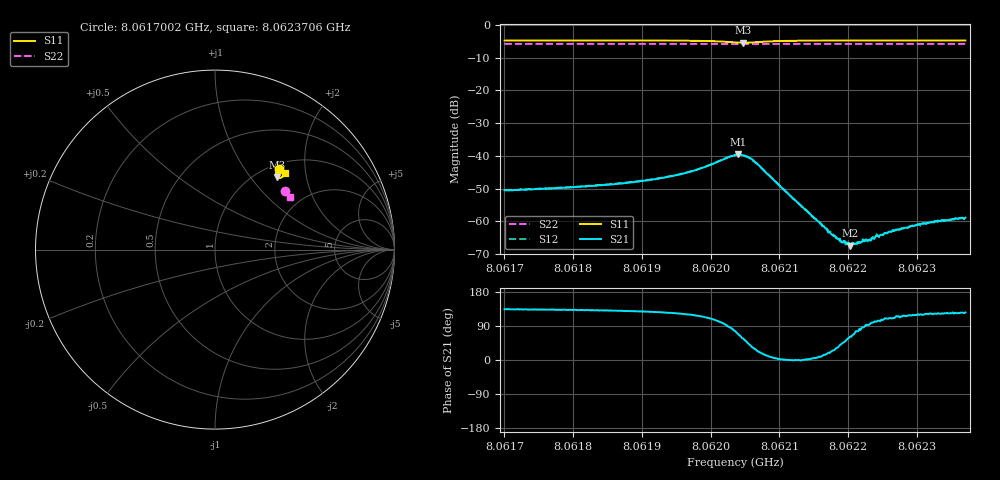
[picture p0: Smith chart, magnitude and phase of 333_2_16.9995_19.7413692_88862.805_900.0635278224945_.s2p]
#  HZ  S  RI  R  50.00
! Rohde & Schwarz Vector Network Analyzer
! Rohde-Schwarz,ZNB20-2Port,1311601062101988,3.16
! Created: UTC 3/20/2024, 11:07:00 PM
! freq[Hz]  re:S11  im:S11  re:S21  im:S21  re:S12  im:S12  re:S22  im:S22
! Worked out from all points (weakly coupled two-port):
!   401 points, 8.0617002 GHz to 8.0623706 GHz, reference 50 ohm
!   highest |S21| = -39.50 dB at 8.0620405 GHz (marker M1); lowest = -67.4 dB at 8.062203 GHz (marker M2)
!   lowest |S11| = -5.5 dB at 8.0620472 GHz (marker M3), VSWR 3.27, Z = 60.9 + j68.5 ohm
!   |S11| at or under -10 dB: nowhere
!   |S22| runs from -5.9 to -5.8 dB; largest |S21 - S12| = 0.00081
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8.06170023e9  0.3585 0.4508  -0.00208 0.00215  -0.00194 0.00231  0.3917 0.3286
8.06181252e9  0.3663 0.4442  -0.00228 0.00252  -0.00217 0.0027  0.3961 0.3232
8.06187286e9  0.3707 0.4399  -0.00242 0.00295  -0.00231 0.00314  0.3984 0.3202
8.06192482e9  0.3749 0.4346  -0.00267 0.00362  -0.00249 0.0038  0.4002 0.3174
8.06197175e9  0.3791 0.4262  -0.00283 0.00506  -0.00254 0.00525  0.4019 0.3148
8.06203544e9  0.3614 0.3989  0.0024 0.00991  0.00311 0.0098  0.403 0.3108
8.06204047e9  0.3553 0.3995  0.004 0.00981  0.00449 0.00943  0.4028 0.3107
8.06204717e9  0.3472 0.4031  0.00558 0.00856  0.00626 0.00827  0.4029 0.3106
8.06205723e9  0.3402 0.4139  0.00711 0.00577  0.00748 0.00536  0.403 0.3107
8.06206728e9  0.3404 0.4251  0.00697 0.00323  0.00713 0.00275  0.4035 0.3107
8.06214773e9  0.3683 0.4384  0.00118 8.36e-05  0.00123 -1.15e-05  0.4079 0.3073
8.06217455e9  0.3724 0.4367  0.000612 0.000239  0.000659 0.000236  0.4088 0.3056
8.06218628e9  0.3738 0.436  0.000428 0.000303  0.00046 0.000273  0.4093 0.3052
8.06219466e9  0.3748 0.4354  0.000341 0.000375  0.000353 0.000383  0.4095 0.3048
8.06220304e9  0.3758 0.4349  0.000203 0.000377  0.000229 0.000351  0.4099 0.3045
8.06222148e9  0.3776 0.4338  3.83e-05 0.000527  6.64e-05 0.000526  0.4105 0.3034
8.06222986e9  0.3784 0.4333  -2.52e-05 0.000523  2.93e-05 0.000518  0.4108 0.303
8.06223992e9  0.3793 0.4326  -0.000115 0.000578  -7.99e-05 0.000563  0.4112 0.3025
8.06226003e9  0.3811 0.4316  -0.000246 0.000655  -0.000215 0.00064  0.412 0.3015
8.06231031e9  0.3848 0.4286  -0.000458 0.000803  -0.000427 0.000845  0.4138 0.2988
8.06233378e9  0.3864 0.4272  -0.000539 0.000862  -0.000531 0.000866  0.4145 0.2975
8.06237065e9  0.3888 0.4252  -0.000661 0.00093  -0.000612 0.000994  0.416 0.2956
